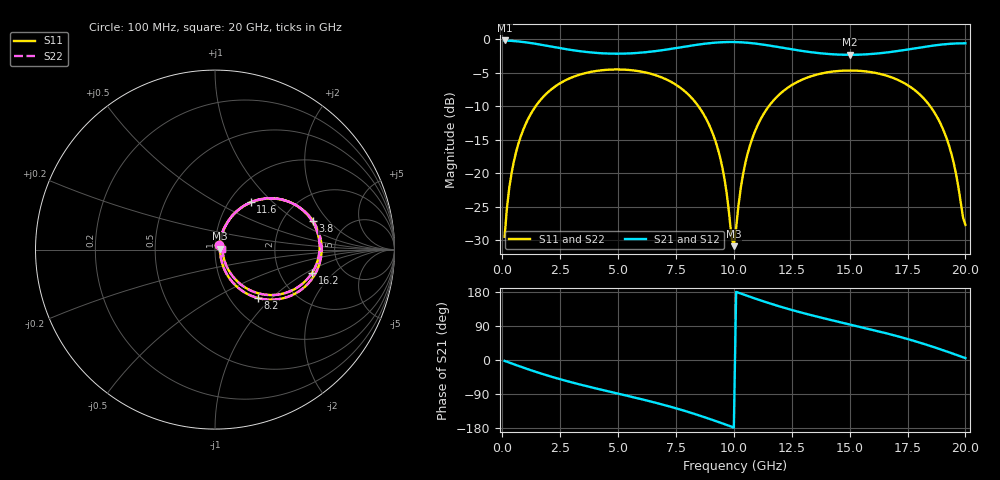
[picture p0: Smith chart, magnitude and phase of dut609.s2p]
! Touchstone file exported from HFSS 2026.1.0
!  File:  C:/ffzhzh/LocalFiles/Ansys_Project_Files/temp_train_TSV_RDL_609_1783122985_46604.aedt
!  Generated:  08:12:13 AM Jul  4, 2026
!  Design:  TSV_RDL
!  Project:  temp_train_TSV_RDL_609_1783122985_46604
! Variables:
!  h_bsmrdl = 3.78um
!  h_ox = 20um
!  h_rdl = 5um
!  h_sub = 65.49um
!  h_tmrdl = 5.05um
!  h_tsv = 65.49um
!  h_via = 3um
!  l_bsmrdl = 596.96um
!  l_sub = 6292.63um
!  l_tmrdl = 990.54um
!  m_sub = 200um
!  pitch = 57.5um
!  r_tsv = 6.14um
!  s_tmrdl = 10um
!  w_bsmrdl = 25.5um
!  w_sub = 500um
!  w_tmrdl = 21.03um
!  x_tsv_center1 = 1001.055um
!  x_tsv_center2 = 1623.515um
!  x_tsv_center3 = 2635.085um
!  x_tsv_center4 = 3257.545um
!  x_tsv_center5 = 4269.115um
!  x_tsv_center6 = 4891.575um
# GHz S MA R 50.000000
! Terminal data exported
! Port[1] = TM_RDL1_1_T1
! Port[2] = TM_RDL5_1_T1
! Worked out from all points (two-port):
!   200 points, 100 MHz to 20 GHz, reference 50 ohm
!   highest |S21| = -0.19 dB at 100 MHz (marker M1); lowest = -2.3 dB at 15 GHz (marker M2)
!   |S21| within 3 dB of the highest: start of sweep to end of sweep
!   lowest |S11| = -30.9 dB at 10 GHz (marker M3), VSWR 1.06, Z = 52.9 + j0.538 ohm
!   |S11| at or under -10 dB: start of sweep to 1.445 GHz; 8.467 GHz to 11.51 GHz (3.048 GHz wide, 30.5 % of centre); 18.48 GHz to end of sweep
!   |S22| runs from -30.9 to -4.5 dB; largest |S21 - S12| = 1.6e-14
!   S11 on the Smith chart (normalised r, x): 100 MHz: 1.05, +0.05; 3.8 GHz: 2.92, +1.38; 8.2 GHz: 1.33, -0.83; 11.6 GHz: 1.25, +0.74; 16.2 GHz: 3.04, -1.14; 20 GHz: 1.09, +0.01
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0.1  0.03349 47.1  0.9779 -2.3  0.9779 -2.3  0.03349 47.1
! Gamma 0 0 0 0
! Port Impedance 50 0 50 0
0.3  0.07734 65.3  0.9736 -6.8  0.9736 -6.8  0.07734 65.3
0.5  0.1224 67.1  0.9681 -11.3  0.9681 -11.3  0.1224 67.1
1.1  0.2508 60.0  0.9425 -24.2  0.9425 -24.2  0.2508 60.0
2.1  0.4197 42.7  0.8814 -43.7  0.8814 -43.7  0.4197 42.7
3.5  0.5532 20.7  0.807 -66.9  0.807 -66.9  0.5532 20.7
3.8  0.5688 16.3  0.7966 -71.4  0.7966 -71.4  0.5688 16.3
5.3  0.5916 -4.5  0.7805 -93.1  0.7805 -93.1  0.5917 -4.5
6.8  0.525 -25.9  0.8224 -115.7  0.8224 -115.7  0.525 -25.9
8.2  0.3608 -48.5  0.8967 -140.3  0.8967 -140.3  0.3608 -48.4
9.3  0.1537 -64.3  0.9447 -162.9  0.9447 -162.9  0.1537 -64.3
10  0.0285 10.3  0.9519 -178.1  0.9519 -178.1  0.02853 10.2
10.1  0.0393 42.6  0.9511 179.7  0.9511 179.7  0.0393 42.5
10.6  0.1408 66.2  0.9399 168.9  0.9399 168.9  0.1408 66.2
11.6  0.3306 53.0  0.892 148.5  0.892 148.5  0.3305 53.0
13.4  0.5328 24.9  0.7965 117.4  0.7965 117.4  0.5327 24.9
15  0.5834 2.9  0.7641 93.9  0.7641 93.9  0.5834 2.9
16.2  0.5561 -13.4  0.7818 76.4  0.7818 76.4  0.5561 -13.4
16.7  0.5269 -20.5  0.7992 68.7  0.7992 68.7  0.5269 -20.5
18.9  0.2391 -53.6  0.9083 28.7  0.9083 28.7  0.239 -53.7
19.5  0.118 -55.4  0.9268 15.9  0.9268 15.9  0.1178 -55.6
20  0.04105 4.3  0.9308 5.0  0.9308 5.0  0.04048 4.3
